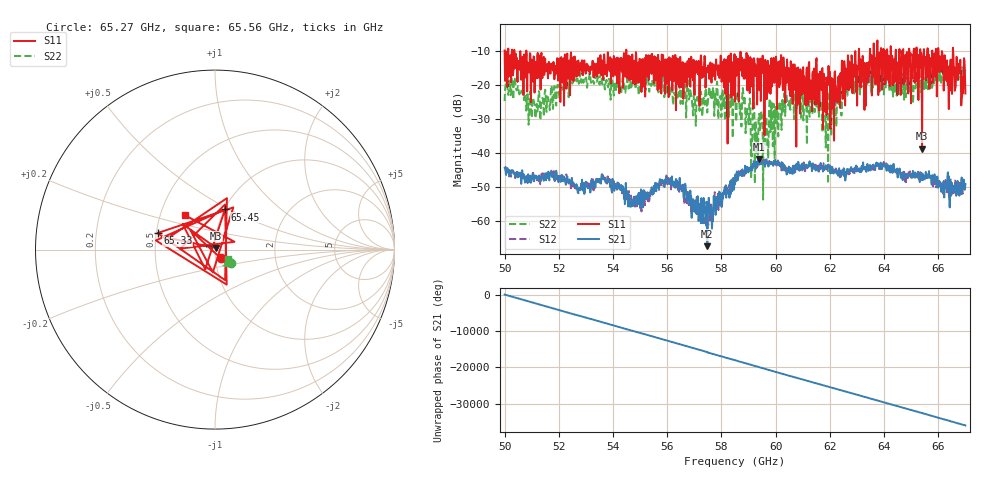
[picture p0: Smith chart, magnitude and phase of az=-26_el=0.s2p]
!Created with skrf (http://scikit-rf.org).
# GHz S RI R 50.0
!freq ReS11 ImS11 ReS21 ImS21 ReS12 ImS12 ReS22 ImS22
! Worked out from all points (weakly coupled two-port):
!   1001 points, 50 GHz to 67 GHz, reference 50 ohm
!   highest |S21| = -41.71 dB at 59.38 GHz (marker M1); lowest = -67.3 dB at 57.48 GHz (marker M2)
!   lowest |S11| = -38.7 dB at 65.4 GHz (marker M3), VSWR 1.02, Z = 50.7 + j0.914 ohm
!   |S11| at or under -10 dB: 50.8 GHz to 54.49 GHz (3.687 GHz wide, 7 % of centre); 54.49 GHz to 63.07 GHz (8.582 GHz wide, 14.6 % of centre); 66.01 GHz to 66.54 GHz (533.1 MHz wide, 0.804 % of centre) (the widest 3 of 28)
!   |S22| runs from -53.7 to -14.0 dB; largest |S21 - S12| = 0.0025
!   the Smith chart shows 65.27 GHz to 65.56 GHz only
!   S11 on the Smith chart (normalised r, x): 65.27 GHz: 1.06, -0.11; 65.33 GHz: 0.51, +0.10; 65.45 GHz: 1.01, +0.48; 65.56 GHz: 0.67, +0.27
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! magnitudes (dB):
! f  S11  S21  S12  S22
! 50 GHz  -9.9  -44.3  -44.0  -24.8
! 50.42 GHz  -13.0  -46.3  -46.2  -21.4
! 51.07 GHz  -11.7  -47.9  -47.5  -24.6
! 52.84 GHz  -13.5  -50.2  -49.7  -19.4
! 53.62 GHz  -17.2  -46.9  -46.5  -19.5
! 55.05 GHz  -22.1  -54.5  -57.1  -20.0
! 55.68 GHz  -13.5  -50.2  -49.5  -22.2
! 56.44 GHz  -13.7  -49.7  -51.4  -19.9
! 57.48 GHz  -15.8  -67.3  -62.2  -28.1
! 58.5 GHz  -25.0  -49.1  -48.6  -24.3
! 59.38 GHz  -13.1  -41.7  -42.8  -28.5
! 60.64 GHz  -14.0  -43.7  -44.4  -22.8
! 61.34 GHz  -27.8  -45.3  -45.1  -26.0
! 62 GHz  -16.2  -44.5  -43.8  -25.0
! 62.6 GHz  -18.5  -45.3  -45.2  -19.3
! 64.18 GHz  -19.3  -45.3  -44.1  -18.5
! 65.27 GHz  -24.5  -46.7  -47.1  -18.8
! 65.33 GHz  -9.5  -46.5  -47.2  -19.4
! 65.4 GHz  -38.7  -48.0  -46.7  -19.8
! 65.45 GHz  -12.7  -47.8  -47.1  -17.9
! 65.56 GHz  -11.9  -47.1  -47.5  -21.0
! 67 GHz  -22.6  -49.1  -49.1  -15.6
